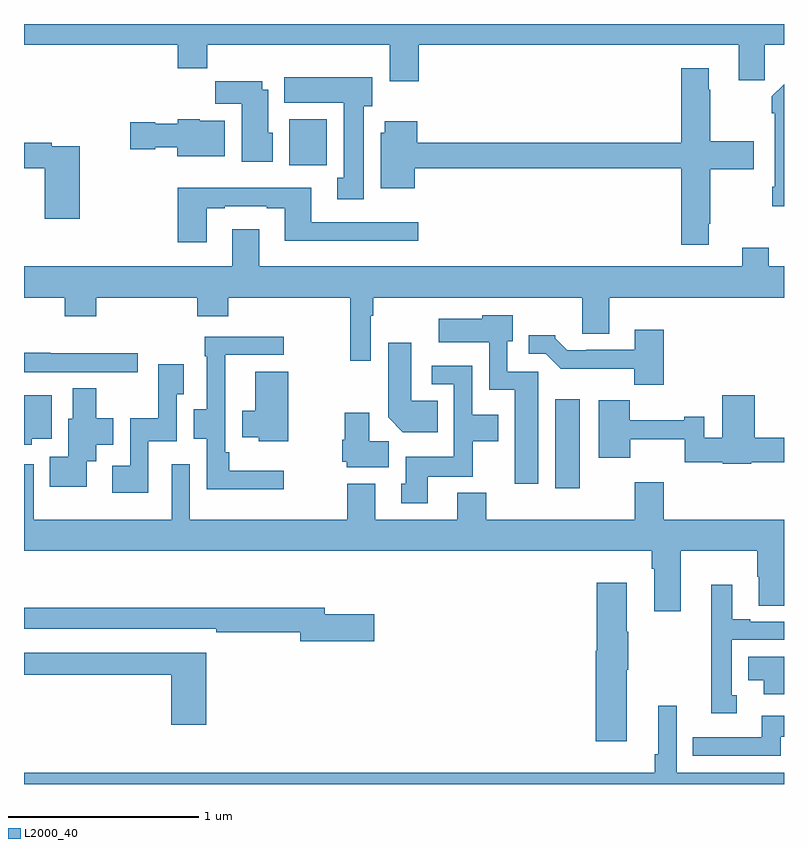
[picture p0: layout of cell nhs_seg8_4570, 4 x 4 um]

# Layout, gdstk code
import gdstk
lib = gdstk.Library(unit=1e-6, precision=1e-09)
def R(c, l, rs):  # rectangles x0, y0, x1, y1
    for r in rs: c.add(gdstk.rectangle(r[:2], r[2:], *l))
def P(c, l, *ps):  # polygons
    for p in ps: c.add(gdstk.Polygon(p, *l))
L2000_40 = (2000, 40)

nhs_seg8_4570 = lib.new_cell('nhs_seg8_4570')
R(nhs_seg8_4570, L2000_40, [(389.795,1155.456,389.926,1155.925), (388.397,1157.156,388.594,1157.398)])
P(nhs_seg8_4570, L2000_40, [(389.078,1157.792),(390.761,1157.792),(390.761,1157.604),(390.899,1157.604),(390.899,1157.792),(391,1157.792),(391,1157.9),(387,1157.9),(387,1157.792),(387.809,1157.792),(387.809,1157.668),(387.965,1157.668),(387.965,1157.792),(388.925,1157.792),(388.925,1157.598),(389.078,1157.598)],
  [(390.604,1156.849),(390.612,1156.849),(390.612,1157.135),(390.841,1157.135),(390.841,1157.282),(390.612,1157.282),(390.612,1157.555),(390.604,1157.555),(390.604,1157.668),(390.458,1157.668),(390.458,1157.276),(389.069,1157.276),(389.069,1157.389),(388.898,1157.389),(388.898,1157.328),(388.877,1157.328),(388.877,1157.036),(389.056,1157.036),(389.056,1157.14),(390.458,1157.14),(390.458,1156.737),(390.604,1156.737)],
  [(388.789,1157.466),(388.834,1157.466),(388.834,1157.62),(388.37,1157.62),(388.37,1157.486),(388.682,1157.486),(388.682,1157.09),(388.649,1157.09),(388.649,1156.977),(388.789,1156.977)],
  [(388.309,1157.328),(388.285,1157.328),(388.285,1157.554),(388.255,1157.554),(388.255,1157.599),(388.006,1157.599),(388.006,1157.48),(388.145,1157.48),(388.145,1157.174),(388.309,1157.174)],
  [(391,1157.584),(390.936,1157.52),(390.936,1157.429),(390.95,1157.429),(390.95,1157.044),(390.939,1157.044),(390.939,1156.941),(391,1156.941)],
  [(388.057,1157.392),(387.924,1157.392),(387.924,1157.398),(387.81,1157.398),(387.81,1157.374),(387.69,1157.374),(387.69,1157.382),(387.558,1157.382),(387.558,1157.24),(387.69,1157.24),(387.69,1157.252),(387.806,1157.252),(387.806,1157.204),(388.057,1157.204)],
  [(387.293,1157.256),(387.146,1157.256),(387.146,1157.276),(387,1157.276),(387,1157.14),(387.11,1157.14),(387.11,1156.875),(387.293,1156.875)],
  [(387.961,1156.929),(388.057,1156.929),(388.057,1156.941),(388.277,1156.941),(388.277,1156.929),(388.373,1156.929),(388.373,1156.76),(389.074,1156.76),(389.074,1156.857),(388.513,1156.857),(388.513,1157.038),(387.809,1157.038),(387.809,1156.752),(387.961,1156.752)],
  [(388.824,1156.364),(388.837,1156.364),(388.837,1156.46),(389.939,1156.46),(389.939,1156.27),(390.079,1156.27),(390.079,1156.46),(391,1156.46),(391,1156.624),(390.919,1156.624),(390.919,1156.723),(390.779,1156.723),(390.779,1156.624),(388.237,1156.624),(388.237,1156.819),(388.097,1156.819),(388.097,1156.624),(387,1156.624),(387,1156.46),(387.215,1156.46),(387.215,1156.361),(387.38,1156.361),(387.38,1156.46),(387.911,1156.46),(387.911,1156.361),(388.076,1156.361),(388.076,1156.46),(388.716,1156.46),(388.716,1156.128),(388.824,1156.128)],
  [(389.707,1156.071),(389.544,1156.071),(389.544,1156.23),(389.572,1156.23),(389.572,1156.366),(389.412,1156.366),(389.412,1156.348),(389.184,1156.348),(389.184,1156.226),(389.448,1156.226),(389.448,1155.974),(389.582,1155.974),(389.582,1155.48),(389.707,1155.48)],
  [(390.368,1156.291),(390.215,1156.291),(390.215,1156.185),(389.959,1156.185),(389.959,1156.182),(389.86,1156.182),(389.796,1156.246),(389.796,1156.261),(389.657,1156.261),(389.657,1156.164),(389.745,1156.164),(389.824,1156.086),(390.213,1156.086),(390.213,1156.001),(390.368,1156.001)],
  [(388.366,1155.55),(388.079,1155.55),(388.079,1155.646),(388.059,1155.646),(388.059,1155.961),(388.06,1155.961),(388.06,1156.158),(388.366,1156.158),(388.366,1156.254),(387.951,1156.254),(387.951,1156.151),(387.963,1156.151),(387.963,1155.873),(387.893,1155.873),(387.893,1155.718),(387.963,1155.718),(387.963,1155.452),(388.366,1155.452)],
  [(389.177,1155.916),(389.038,1155.916),(389.038,1156.222),(388.916,1156.222),(388.916,1155.83),(388.994,1155.752),(389.177,1155.752)],
  [(387.598,1156.166),(387.137,1156.166),(387.137,1156.169),(387,1156.169),(387,1156.068),(387.598,1156.068)],
  [(387.654,1155.704),(387.804,1155.704),(387.804,1155.952),(387.841,1155.952),(387.841,1156.108),(387.706,1156.108),(387.706,1155.826),(387.558,1155.826),(387.558,1155.574),(387.465,1155.574),(387.465,1155.434),(387.654,1155.434)],
  [(389.125,1155.518),(389.361,1155.518),(389.361,1155.704),(389.497,1155.704),(389.497,1155.844),(389.358,1155.844),(389.358,1156.101),(389.145,1156.101),(389.145,1156.005),(389.262,1156.005),(389.262,1155.622),(389.009,1155.622),(389.009,1155.48),(388.985,1155.48),(388.985,1155.378),(389.125,1155.378)],
  [(388.39,1156.069),(388.217,1156.069),(388.217,1155.865),(388.148,1155.865),(388.148,1155.725),(388.236,1155.725),(388.236,1155.704),(388.39,1155.704)],
  [(387.33,1155.599),(387.379,1155.599),(387.379,1155.686),(387.469,1155.686),(387.469,1155.826),(387.379,1155.826),(387.379,1155.983),(387.257,1155.983),(387.257,1155.822),(387.233,1155.822),(387.233,1155.622),(387.136,1155.622),(387.136,1155.464),(387.33,1155.464)],
  [(387.04,1155.716),(387.145,1155.716),(387.145,1155.946),(387,1155.946),(387,1155.686),(387.04,1155.686)],
  [(390.828,1155.594),(391,1155.594),(391,1155.722),(390.845,1155.722),(390.845,1155.946),(390.674,1155.946),(390.674,1155.722),(390.579,1155.722),(390.579,1155.833),(390.476,1155.833),(390.476,1155.815),(390.188,1155.815),(390.188,1155.919),(390.026,1155.919),(390.026,1155.618),(390.19,1155.618),(390.19,1155.715),(390.478,1155.715),(390.478,1155.594),(390.678,1155.594),(390.678,1155.586),(390.828,1155.586)],
  [(388.921,1155.704),(388.816,1155.704),(388.816,1155.853),(388.687,1155.853),(388.687,1155.711),(388.676,1155.711),(388.676,1155.597),(388.698,1155.597),(388.698,1155.566),(388.921,1155.566)],
  [(390.457,1155.128),(390.859,1155.128),(390.859,1154.99),(390.866,1154.99),(390.866,1154.839),(391,1154.839),(391,1155.292),(390.368,1155.292),(390.368,1155.487),(390.215,1155.487),(390.215,1155.292),(389.432,1155.292),(389.432,1155.433),(389.279,1155.433),(389.279,1155.292),(388.849,1155.292),(388.849,1155.481),(388.702,1155.481),(388.702,1155.292),(387.873,1155.292),(387.873,1155.583),(387.777,1155.583),(387.777,1155.292),(387.051,1155.292),(387.051,1155.583),(387,1155.583),(387,1155.128),(390.305,1155.128),(390.305,1155.032),(390.317,1155.032),(390.317,1154.808),(390.457,1154.808)],
  [(390.172,1154.501),(390.18,1154.501),(390.18,1154.701),(390.172,1154.701),(390.172,1154.959),(390.014,1154.959),(390.014,1154.601),(390.008,1154.601),(390.008,1154.124),(390.172,1154.124)],
  [(390.751,1154.367),(390.726,1154.367),(390.726,1154.658),(391,1154.658),(391,1154.754),(390.823,1154.754),(390.823,1154.767),(390.727,1154.767),(390.727,1154.95),(390.617,1154.95),(390.617,1154.705),(390.618,1154.705),(390.618,1154.273),(390.751,1154.273)],
  [(388.843,1154.793),(388.582,1154.793),(388.582,1154.827),(387,1154.827),(387,1154.718),(388.012,1154.718),(388.012,1154.698),(388.454,1154.698),(388.454,1154.651),(388.843,1154.651)],
  [(387.959,1154.592),(387,1154.592),(387,1154.476),(387.776,1154.476),(387.776,1154.211),(387.959,1154.211)],
  [(391,1154.569),(390.811,1154.569),(390.811,1154.447),(390.893,1154.447),(390.893,1154.372),(391,1154.372)],
  [(387,1153.9),(391,1153.9),(391,1153.96),(390.435,1153.96),(390.435,1154.311),(390.338,1154.311),(390.338,1154.056),(390.319,1154.056),(390.319,1153.96),(387,1153.96)],
  [(390.984,1154.148),(391,1154.148),(391,1154.26),(390.884,1154.26),(390.884,1154.145),(390.52,1154.145),(390.52,1154.049),(390.984,1154.049)])

lib.write_gds('nhs_seg8_4570.gds')
